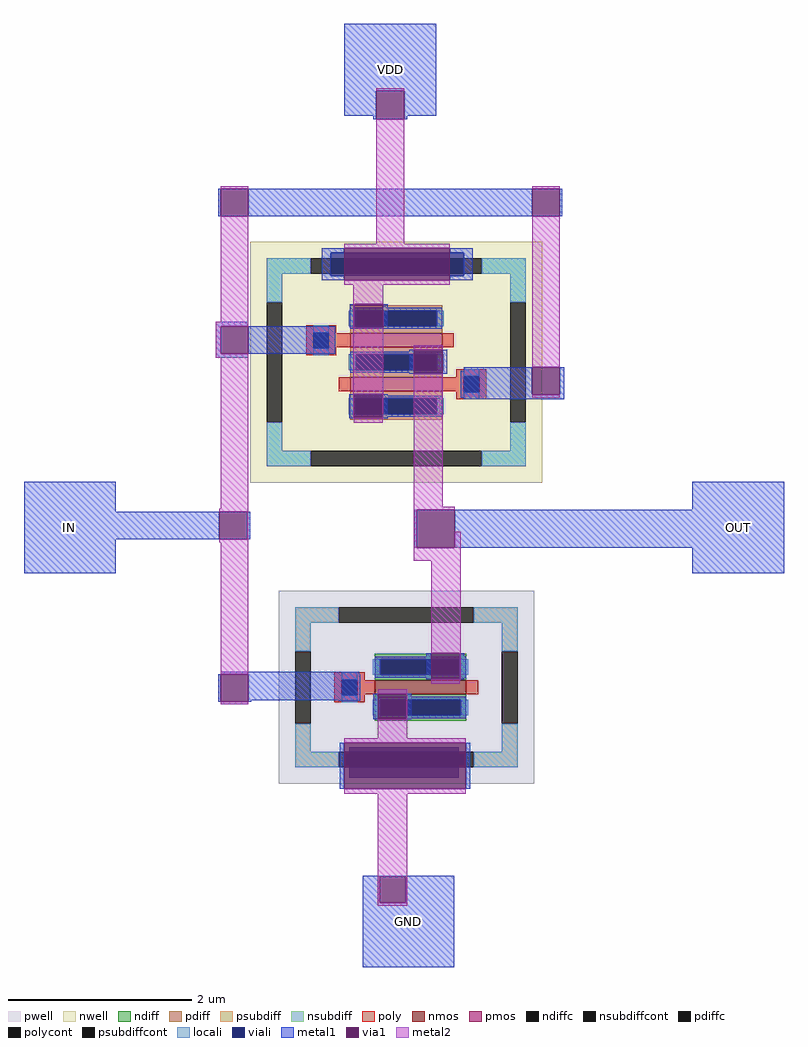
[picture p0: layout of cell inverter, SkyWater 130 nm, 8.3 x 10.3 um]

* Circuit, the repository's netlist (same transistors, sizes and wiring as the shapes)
** sch_path: /foss/designs/modulo3/lab02/xschem/inverter.sch
.subckt inverter VDD IN OUT GND
*.PININFO IN:I OUT:O VDD:B GND:B
XM1 OUT IN GND GND sky130_fd_pr__nfet_01v8 L=0.15 W=1 nf=1 m=1
XM2 OUT IN VDD VDD sky130_fd_pr__pfet_01v8 L=0.15 W=2 nf=2 m=1
.ends

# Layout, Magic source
magic
tech sky130A
magscale 1 2
<< viali >>
rect 1050 -50 1340 0
rect 1090 -1146 1330 -1080
<< metal1 >>
rect 1080 354 1280 500
rect 1080 300 1149 354
rect 1143 292 1149 300
rect 1211 300 1280 354
rect 1211 292 1217 300
rect 804 80 810 140
rect 870 80 1490 140
rect 1550 80 1556 140
rect 1030 0 1080 10
rect 1310 0 1360 10
rect 1030 -50 1050 0
rect 1340 -50 1360 0
rect 1030 -60 1080 -50
rect 1310 -60 1360 -50
rect 799 -160 870 -150
rect 799 -220 810 -160
rect 870 -220 1060 -160
rect 1091 -164 1101 -112
rect 1165 -164 1175 -112
rect 799 -229 870 -220
rect 1221 -264 1231 -212
rect 1295 -264 1305 -212
rect 1090 -361 1100 -309
rect 1164 -361 1174 -309
rect 1340 -310 1490 -250
rect 1550 -310 1560 -250
rect 1340 -320 1560 -310
rect 380 -565 580 -500
rect 1840 -561 2040 -500
rect 380 -626 807 -565
rect 868 -626 874 -565
rect 380 -700 580 -626
rect 1232 -644 1238 -561
rect 1321 -644 2040 -561
rect 1840 -700 2040 -644
rect 810 -920 1112 -915
rect 804 -980 810 -920
rect 870 -977 1112 -920
rect 1259 -931 1269 -875
rect 1332 -931 1342 -875
rect 870 -980 876 -977
rect 1143 -1019 1153 -963
rect 1216 -1019 1226 -963
rect 1070 -1171 1080 -1070
rect 1345 -1171 1355 -1070
rect 1120 -1363 1320 -1360
rect 1120 -1420 1157 -1363
rect 1214 -1420 1320 -1363
rect 1120 -1560 1320 -1420
<< via1 >>
rect 1149 292 1211 354
rect 810 80 870 140
rect 1490 80 1550 140
rect 1080 0 1310 10
rect 1080 -50 1310 0
rect 1080 -60 1310 -50
rect 810 -220 870 -160
rect 1101 -164 1165 -112
rect 1231 -264 1295 -212
rect 1100 -361 1164 -309
rect 1490 -310 1550 -250
rect 807 -626 868 -565
rect 1238 -644 1321 -561
rect 810 -980 870 -920
rect 1269 -931 1332 -875
rect 1153 -1019 1216 -963
rect 1080 -1080 1345 -1070
rect 1080 -1146 1090 -1080
rect 1090 -1146 1330 -1080
rect 1330 -1146 1345 -1080
rect 1080 -1171 1345 -1146
rect 1157 -1420 1214 -1363
<< metal2 >>
rect 1149 354 1211 360
rect 810 140 870 146
rect 810 -150 870 80
rect 1149 20 1211 292
rect 1490 140 1550 146
rect 1080 10 1310 20
rect 1080 -70 1310 -60
rect 799 -160 870 -150
rect 799 -220 810 -160
rect 799 -229 870 -220
rect 810 -559 870 -229
rect 1099 -112 1165 -70
rect 1099 -164 1101 -112
rect 1099 -309 1165 -164
rect 1099 -361 1100 -309
rect 1164 -361 1165 -309
rect 1231 -212 1295 -202
rect 1100 -371 1164 -361
rect 807 -565 870 -559
rect 868 -626 870 -565
rect 807 -632 870 -626
rect 810 -920 870 -632
rect 1231 -555 1295 -264
rect 1490 -250 1550 80
rect 1490 -316 1550 -310
rect 1231 -561 1321 -555
rect 1231 -644 1238 -561
rect 1321 -644 1334 -609
rect 1231 -673 1334 -644
rect 1270 -865 1334 -673
rect 1269 -875 1334 -865
rect 1332 -931 1334 -875
rect 1269 -933 1334 -931
rect 1269 -941 1332 -933
rect 810 -986 870 -980
rect 1153 -963 1217 -953
rect 1216 -1019 1217 -963
rect 1153 -1060 1217 -1019
rect 1080 -1070 1345 -1060
rect 1080 -1181 1345 -1171
rect 1153 -1363 1217 -1181
rect 1153 -1420 1157 -1363
rect 1214 -1420 1217 -1363
rect 1153 -1426 1217 -1420
use sky130_fd_pr__nfet_01v8_5HRLDF  XM1
transform 0 1 1215 -1 0 -949
box -211 -279 211 279
use sky130_fd_pr__pfet_01v8_GJ6HWT  XM2
transform 0 1 1193 -1 0 -239
box -263 -319 263 319
<< labels >>
flabel metal1 1080 300 1280 500 0 FreeSans 128 0 0 0 VDD
port 0 nsew
flabel metal1 1120 -1560 1320 -1360 0 FreeSans 128 0 0 0 GND
port 3 nsew
flabel metal1 380 -700 580 -500 0 FreeSans 128 0 0 0 IN
port 1 nsew
flabel metal1 1840 -700 2040 -500 0 FreeSans 128 0 0 0 OUT
port 2 nsew
<< end >>

# cell sky130_fd_pr__nfet_01v8_5HRLDF: kit device sky130_fd_pr__nfet_01v8, w 1.0 l 0.15 m 1 nf 1 diffcov 100 polycov 100 guard 1 glc 1 grc 1 gtc 1 gbc 1 tbcov 100 rlcov 100 topc 0 botc 1 poverlap 0 doverlap 1 lmin 0.15 wmin 0.42 class mosfet compatible {sky130_fd_pr__nfet_01v8 sky130_fd_pr__nfet_01v8_lvt sky130_fd_bs_flash__special_sonosfet_star sky130_fd_pr__nfet_g5v0d10v5 sky130_fd_pr__nfet_05v0_nvt sky130_fd_pr__nfet_03v3_nvt} full_metal 1 viasrc 100 viadrn 100 viagate 100 viagb 0 viagr 0 viagl 0 viagt 0 doports 1

# cell sky130_fd_pr__pfet_01v8_GJ6HWT: kit device sky130_fd_pr__pfet_01v8, w 1.0 l 0.15 m 1 nf 2 diffcov 100 polycov 100 guard 1 glc 1 grc 1 gtc 1 gbc 1 tbcov 100 rlcov 100 topc 1 botc 1 poverlap 0 doverlap 1 lmin 0.15 wmin 0.42 class mosfet compatible {sky130_fd_pr__pfet_01v8 sky130_fd_pr__pfet_01v8_lvt sky130_fd_pr__pfet_01v8_hvt sky130_fd_pr__pfet_g5v0d10v5} full_metal 1 viasrc 100 viadrn 100 viagate 100 viagb 0 viagr 0 viagl 0 viagt 0 doports 1
